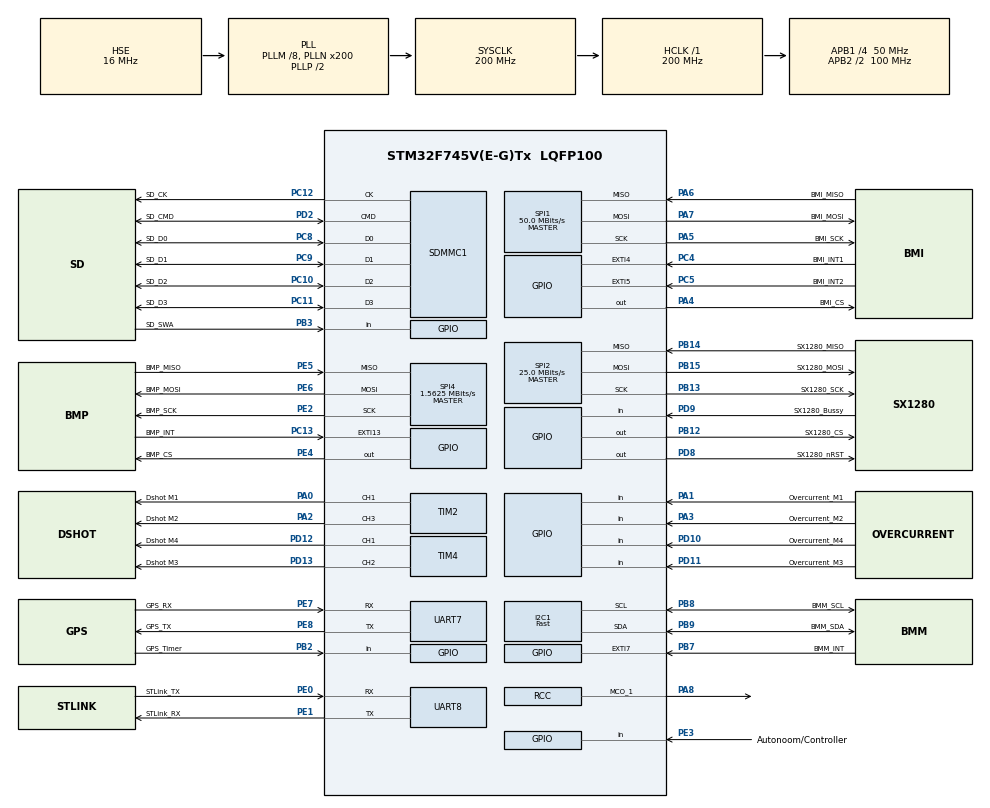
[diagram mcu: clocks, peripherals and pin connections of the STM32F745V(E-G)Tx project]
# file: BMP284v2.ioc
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CORTEX_M7.default_mode_Activation=1
Dma.Request0=TIM4_CH1
Dma.Request1=TIM4_CH2
Dma.Request2=TIM2_UP/CH3
Dma.Request3=TIM2_CH1
Dma.TIM2_CH1.3.Direction=DMA_MEMORY_TO_PERIPH
Dma.TIM2_CH1.3.FIFOMode=DMA_FIFOMODE_DISABLE
Dma.TIM2_CH1.3.Instance=DMA1_Stream5
Dma.TIM2_CH1.3.MemDataAlignment=DMA_MDATAALIGN_WORD
Dma.TIM2_CH1.3.MemInc=DMA_MINC_ENABLE
Dma.TIM2_CH1.3.Mode=DMA_NORMAL
Dma.TIM2_CH1.3.PeriphDataAlignment=DMA_PDATAALIGN_WORD
Dma.TIM2_CH1.3.PeriphInc=DMA_PINC_DISABLE
Dma.TIM2_CH1.3.Priority=DMA_PRIORITY_VERY_HIGH
Dma.TIM2_UP/CH3.2.Direction=DMA_MEMORY_TO_PERIPH
Dma.TIM2_UP/CH3.2.FIFOMode=DMA_FIFOMODE_DISABLE
Dma.TIM2_UP/CH3.2.Instance=DMA1_Stream1
Dma.TIM2_UP/CH3.2.MemDataAlignment=DMA_MDATAALIGN_WORD
Dma.TIM2_UP/CH3.2.MemInc=DMA_MINC_ENABLE
Dma.TIM2_UP/CH3.2.Mode=DMA_NORMAL
Dma.TIM2_UP/CH3.2.PeriphDataAlignment=DMA_PDATAALIGN_WORD
Dma.TIM2_UP/CH3.2.PeriphInc=DMA_PINC_DISABLE
Dma.TIM2_UP/CH3.2.Priority=DMA_PRIORITY_VERY_HIGH
Dma.TIM4_CH1.0.Direction=DMA_MEMORY_TO_PERIPH
Dma.TIM4_CH1.0.FIFOMode=DMA_FIFOMODE_DISABLE
Dma.TIM4_CH1.0.Instance=DMA1_Stream0
Dma.TIM4_CH1.0.MemDataAlignment=DMA_MDATAALIGN_HALFWORD
Dma.TIM4_CH1.0.MemInc=DMA_MINC_ENABLE
Dma.TIM4_CH1.0.Mode=DMA_NORMAL
Dma.TIM4_CH1.0.PeriphDataAlignment=DMA_PDATAALIGN_HALFWORD
Dma.TIM4_CH1.0.PeriphInc=DMA_PINC_DISABLE
Dma.TIM4_CH1.0.Priority=DMA_PRIORITY_VERY_HIGH
Dma.TIM4_CH2.1.Direction=DMA_MEMORY_TO_PERIPH
Dma.TIM4_CH2.1.FIFOMode=DMA_FIFOMODE_DISABLE
Dma.TIM4_CH2.1.Instance=DMA1_Stream3
Dma.TIM4_CH2.1.MemDataAlignment=DMA_MDATAALIGN_HALFWORD
Dma.TIM4_CH2.1.MemInc=DMA_MINC_ENABLE
Dma.TIM4_CH2.1.Mode=DMA_NORMAL
Dma.TIM4_CH2.1.PeriphDataAlignment=DMA_PDATAALIGN_HALFWORD
Dma.TIM4_CH2.1.PeriphInc=DMA_PINC_DISABLE
Dma.TIM4_CH2.1.Priority=DMA_PRIORITY_VERY_HIGH
FATFS.BSP.number=1
FATFS0.BSP.STBoard=false
FATFS0.BSP.api=Unknown
FATFS0.BSP.instance=PB3
FATFS0.BSP.ip=GPIO
FATFS0.BSP.mode=Input
FATFS0.BSP.name=Detect_SDIO
FATFS0.BSP.solution=PB3
I2C1.I2C_Speed_Mode=I2C_Fast
I2C1.Timing=0x00401959
Mcu.Family=STM32F7
Mcu.Name=STM32F745V(E-G)Tx
Mcu.Package=LQFP100
NVIC.DMA1_Stream0_IRQn=true\:0\:0\:false\:false\:true\:false\:true\:true
NVIC.DMA1_Stream1_IRQn=true\:0\:0\:false\:false\:true\:false\:true\:true
NVIC.DMA1_Stream3_IRQn=true\:0\:0\:false\:false\:true\:false\:true\:true
NVIC.DMA1_Stream5_IRQn=true\:0\:0\:false\:false\:true\:false\:true\:true
NVIC.EXTI15_10_IRQn=true\:0\:0\:false\:false\:true\:true\:true\:true
NVIC.EXTI4_IRQn=true\:3\:0\:true\:false\:true\:true\:true\:true
NVIC.EXTI9_5_IRQn=true\:3\:0\:true\:false\:true\:true\:true\:true
NVIC.PriorityGroup=NVIC_PRIORITYGROUP_4
PA0/WKUP.GPIO_Label=Dshot M1
PA0/WKUP.Signal=S_TIM2_CH1_ETR
PA1.GPIO_Label=Overcurrent_M1
PA1.Signal=GPIO_Input
PA13.GPIO_Label=STLink_DIO
PA13.Mode=Serial_Wire
PA13.Signal=SYS_JTMS-SWDIO
PA14.GPIO_Label=STLink_CLK
PA14.Mode=Serial_Wire
PA14.Signal=SYS_JTCK-SWCLK
PA2.GPIO_Label=Dshot M2
PA2.Signal=S_TIM2_CH3
PA3.GPIO_Label=Overcurrent_M2
PA3.Signal=GPIO_Input
PA4.GPIO_Label=BMI_CS
PA4.Signal=GPIO_Output
PA5.GPIO_Label=BMI_SCK
PA5.Mode=Full_Duplex_Master
PA5.Signal=SPI1_SCK
PA6.GPIO_Label=BMI_MISO
PA6.Mode=Full_Duplex_Master
PA6.Signal=SPI1_MISO
PA7.GPIO_Label=BMI_MOSI
PA7.Mode=Full_Duplex_Master
PA7.Signal=SPI1_MOSI
PA8.Mode=Clock-out-1
PA8.Signal=RCC_MCO_1
PB12.GPIO_Label=SX1280_CS
PB12.Signal=GPIO_Output
PB13.GPIO_Label=SX1280_SCK
PB13.Mode=Full_Duplex_Master
PB13.Signal=SPI2_SCK
PB14.GPIO_Label=SX1280_MISO
PB14.Mode=Full_Duplex_Master
PB14.Signal=SPI2_MISO
PB15.GPIO_Label=SX1280_MOSI
PB15.Mode=Full_Duplex_Master
PB15.Signal=SPI2_MOSI
PB2.GPIO_Label=GPS_Timer
PB2.Signal=GPIO_Input
PB3.GPIO_Label=SD_SWA
PB3.Signal=GPIO_Input
PB7.GPIO_Label=BMM_INT
PB7.Signal=GPXTI7
PB8.GPIO_Label=BMM_SCL
PB8.Mode=I2C
PB8.Signal=I2C1_SCL
PB9.GPIO_Label=BMM_SDA
PB9.Mode=I2C
PB9.Signal=I2C1_SDA
PC10.GPIO_Label=SD_D2
PC10.Mode=SD_4_bits_Wide_bus
PC10.Signal=SDMMC1_D2
PC11.GPIO_Label=SD_D3
PC11.Mode=SD_4_bits_Wide_bus
PC11.Signal=SDMMC1_D3
PC12.GPIO_Label=SD_CK
PC12.Mode=SD_4_bits_Wide_bus
PC12.Signal=SDMMC1_CK
PC13.GPIO_Label=BMP_INT
PC13.Signal=GPXTI13
PC14/OSC32_IN.Mode=LSE-External-Oscillator
PC14/OSC32_IN.Signal=RCC_OSC32_IN
PC15/OSC32_OUT.Mode=LSE-External-Oscillator
PC15/OSC32_OUT.Signal=RCC_OSC32_OUT
PC4.GPIO_Label=BMI_INT1
PC4.Signal=GPXTI4
PC5.GPIO_Label=BMI_INT2
PC5.Signal=GPXTI5
PC8.GPIO_Label=SD_D0
PC8.Mode=SD_4_bits_Wide_bus
PC8.Signal=SDMMC1_D0
PC9.GPIO_Label=SD_D1
PC9.Mode=SD_4_bits_Wide_bus
PC9.Signal=SDMMC1_D1
PD10.GPIO_Label=Overcurrent_M4
PD10.Signal=GPIO_Input
PD11.GPIO_Label=Overcurrent_M3
PD11.Signal=GPIO_Input
PD12.GPIO_Label=Dshot M4
PD12.Signal=S_TIM4_CH1
PD13.GPIO_Label=Dshot M3
PD13.Signal=S_TIM4_CH2
PD2.GPIO_Label=SD_CMD
PD2.Mode=SD_4_bits_Wide_bus
PD2.Signal=SDMMC1_CMD
PD8.GPIO_Label=SX1280_nRST
PD8.Signal=GPIO_Output
PD9.GPIO_Label=SX1280_Bussy
PD9.Signal=GPIO_Input
PE0.GPIO_Label=STLink_TX
PE0.Mode=Asynchronous
PE0.Signal=UART8_RX
PE1.GPIO_Label=STLink_RX
PE1.Mode=Asynchronous
PE1.Signal=UART8_TX
PE2.GPIO_Label=BMP_SCK
PE2.Mode=Full_Duplex_Master
PE2.Signal=SPI4_SCK
PE3.GPIO_Label=Autonoom/Controller
PE3.Signal=GPIO_Input
PE4.GPIO_Label=BMP_CS
PE4.Signal=GPIO_Output
PE5.GPIO_Label=BMP_MISO
PE5.Mode=Full_Duplex_Master
PE5.Signal=SPI4_MISO
PE6.GPIO_Label=BMP_MOSI
PE6.Mode=Full_Duplex_Master
PE6.Signal=SPI4_MOSI
PE7.GPIO_Label=GPS_RX
PE7.Mode=Asynchronous
PE7.Signal=UART7_RX
PE8.GPIO_Label=GPS_TX
PE8.Mode=Asynchronous
PE8.Signal=UART7_TX
PH0/OSC_IN.Mode=HSE-External-Oscillator
PH0/OSC_IN.Signal=RCC_OSC_IN
PH1/OSC_OUT.Mode=HSE-External-Oscillator
PH1/OSC_OUT.Signal=RCC_OSC_OUT
ProjectManager.HeapSize=0x200
ProjectManager.StackSize=0x400
ProjectManager.TargetToolchain=STM32CubeIDE
RCC.AHBFreq_Value=200000000
RCC.APB1CLKDivider=RCC_HCLK_DIV4
RCC.APB1Freq_Value=50000000
RCC.APB1TimFreq_Value=100000000
RCC.APB2CLKDivider=RCC_HCLK_DIV2
RCC.APB2Freq_Value=100000000
RCC.APB2TimFreq_Value=200000000
RCC.CortexFreq_Value=200000000
RCC.HCLKFreq_Value=200000000
RCC.HSE_VALUE=16000000
RCC.HSI_VALUE=16000000
RCC.PLLM=8
RCC.PLLN=200
RCC.PLLQ=8
RCC.PLLSourceVirtual=RCC_PLLSOURCE_HSE
RCC.SDMMCClockSelection=RCC_SDMMC1CLKSOURCE_CLK48
RCC.SYSCLKFreq_VALUE=200000000
RCC.SYSCLKSource=RCC_SYSCLKSOURCE_PLLCLK
RCC.USBFreq_Value=50000000
RCC.VCOOutputFreq_Value=400000000
SDMMC1.ClockBypass=SDMMC_CLOCK_BYPASS_DISABLE
SH.S_TIM2_CH1_ETR.0=TIM2_CH1,PWM Generation1 CH1
SH.S_TIM2_CH3.0=TIM2_CH3,PWM Generation3 CH3
SH.S_TIM4_CH1.0=TIM4_CH1,PWM Generation1 CH1
SH.S_TIM4_CH2.0=TIM4_CH2,PWM Generation2 CH2
SPI1.CLKPhase=SPI_PHASE_2EDGE
SPI1.CLKPolarity=SPI_POLARITY_HIGH
SPI1.CalculateBaudRate=50.0 MBits/s
SPI1.DataSize=SPI_DATASIZE_8BIT
SPI1.Direction=SPI_DIRECTION_2LINES
SPI1.Mode=SPI_MODE_MASTER
SPI1.VirtualType=VM_MASTER
SPI2.BaudRatePrescaler=SPI_BAUDRATEPRESCALER_2
SPI2.CalculateBaudRate=25.0 MBits/s
SPI2.DataSize=SPI_DATASIZE_8BIT
SPI2.Direction=SPI_DIRECTION_2LINES
SPI2.Mode=SPI_MODE_MASTER
SPI2.NSSPMode=SPI_NSS_PULSE_DISABLE
SPI2.VirtualType=VM_MASTER
SPI4.BaudRatePrescaler=SPI_BAUDRATEPRESCALER_64
SPI4.CLKPhase=SPI_PHASE_1EDGE
SPI4.CLKPolarity=SPI_POLARITY_LOW
SPI4.CalculateBaudRate=1.5625 MBits/s
SPI4.DataSize=SPI_DATASIZE_8BIT
SPI4.Direction=SPI_DIRECTION_2LINES
SPI4.Mode=SPI_MODE_MASTER
SPI4.VirtualType=VM_MASTER
TIM2.Channel-PWM\ Generation1\ CH1=TIM_CHANNEL_1
TIM2.Channel-PWM\ Generation3\ CH3=TIM_CHANNEL_3
TIM4.Channel-PWM\ Generation1\ CH1=TIM_CHANNEL_1
TIM4.Channel-PWM\ Generation2\ CH2=TIM_CHANNEL_2
UART8.SwapParam=UART_ADVFEATURE_SWAP_ENABLE
VP_FATFS_VS_SDIO.Mode=SDIO
board=custom

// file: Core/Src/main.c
/* USER CODE BEGIN Header */
/**
  ******************************************************************************
  * @file           : main.c
  * @brief          : Main program body
  ******************************************************************************
  * @attention
  *
  * Copyright (c) 2026 STMicroelectronics.
  * All rights reserved.
  *
  * This software is licensed under terms that can be found in the LICENSE file
  * in the root directory of this software component.
  * If no LICENSE file comes with this software, it is provided AS-IS.
  *
  ******************************************************************************
  */
/* USER CODE END Header */
#include "main.h"
#include "fatfs.h"

/* USER CODE BEGIN Includes */
#include "stdio.h"
#include "BMP384.h"
/* USER CODE END Includes */

I2C_HandleTypeDef hi2c1;

SD_HandleTypeDef hsd1;

SPI_HandleTypeDef hspi1;
SPI_HandleTypeDef hspi2;
SPI_HandleTypeDef hspi4;

TIM_HandleTypeDef htim2;
TIM_HandleTypeDef htim4;
DMA_HandleTypeDef hdma_tim2_up_ch3;
DMA_HandleTypeDef hdma_tim2_ch1;
DMA_HandleTypeDef hdma_tim4_ch1;
DMA_HandleTypeDef hdma_tim4_ch2;

UART_HandleTypeDef huart7;
UART_HandleTypeDef huart8;

/* USER CODE BEGIN PV */
static BMP384_Calib baro_calib;
static float g_ground_pressure_pa = 0.0f;
/* USER CODE END PV */

void SystemClock_Config(void);
static void MPU_Config(void);
static void MX_GPIO_Init(void);
static void MX_DMA_Init(void);
static void MX_I2C1_Init(void);
static void MX_SDMMC1_SD_Init(void);
static void MX_SPI1_Init(void);
static void MX_SPI2_Init(void);
static void MX_SPI4_Init(void);
static void MX_TIM2_Init(void);
static void MX_TIM4_Init(void);
static void MX_UART7_Init(void);
static void MX_UART8_Init(void);

/* USER CODE BEGIN 0 */

int _write(int file, char *ptr, int len) {
	for(int i = 0; i < len; i++){
		if(ptr[i]=='\n'){
			HAL_UART_Transmit(&huart8, (uint8_t*)"\r", 1, HAL_MAX_DELAY);
		}
		HAL_UART_Transmit(&huart8, (uint8_t*)&ptr[i], 1, HAL_MAX_DELAY);
	}
    return len;
}
/* USER CODE END 0 */

int main(void)
{

  /* MPU Configuration--------------------------------------------------------*/
  MPU_Config();

  /* MCU Configuration--------------------------------------------------------*/

  /* Reset of all peripherals, Initializes the Flash interface and the Systick. */
  HAL_Init();

  /* Configure the system clock */
  SystemClock_Config();

  /* Initialize all configured peripherals */
  MX_GPIO_Init();
  MX_DMA_Init();
  MX_I2C1_Init();
  MX_SDMMC1_SD_Init();
  MX_SPI1_Init();
  MX_SPI2_Init();
  MX_SPI4_Init();
  MX_TIM2_Init();
  MX_TIM4_Init();
  MX_UART7_Init();
  MX_FATFS_Init();
  MX_UART8_Init();
  /* USER CODE BEGIN 2 */
  /* Barometer-test: init de nieuwe driver en meet de grondduk als referentie
   * voor de hoogteberekening. Bij een fout blijft de lus hieronder gewoon
   * elke keer opnieuw proberen te lezen (en falen), zodat je aan de UART8-log
   * ziet wat er mis is i.p.v. dat het stilletjes doorloopt. */
  BMP384_Status baro_status = BMP384_Init(&baro_calib);

  if (baro_status == BMP384_OK) {
      /* eenmalig de ruwe ADC-waarden tonen: als die 0 of 16777215 zijn,
       * meet de sensor niet en heeft compenseren geen zin */
      uint32_t rp = 0, rt = 0;
      HAL_Delay(50);
      if (BMP384_ReadRaw(&rp, &rt) == BMP384_OK) {
          printf("BMP384: ruwe waarden druk=%lu temp=%lu\n",
                 (unsigned long)rp, (unsigned long)rt);
      }

      if (rp == 0 && rt == 0) {
          BMP384_Diagnose();
          BMP384_ForcedTest(&rp, &rt);
          printf("BMP384: na forced-test druk=%lu temp=%lu\n",
                 (unsigned long)rp, (unsigned long)rt);
          BMP384_Diagnose();
      }

      float sum_pa = 0.0f;
      const int ground_samples = 20;
      int got = 0;
      int tries = 0;
      while (got < ground_samples && tries < 500) {
          tries++;
          if (BMP384_IsDataReady()) {
              float p;
              if (BMP384_ReadPressureTemperature(&baro_calib, &p, NULL) == BMP384_OK) {
                  sum_pa += p;
                  got++;
              }
          }
          HAL_Delay(20);
      }
      if (got == ground_samples) {
          g_ground_pressure_pa = sum_pa / (float)ground_samples;
          printf("BMP384: grondduk = %.1f Pa\n", g_ground_pressure_pa);
      } else {
          printf("BMP384: geen geldige metingen (%d/%d), grondduk niet bepaald\n",
                 got, ground_samples);
          baro_status = BMP384_ERR_DATA;
      }
  }else{
	  printf("BMP is niet OKE\n");
  }
  /* USER CODE END 2 */

  /* Infinite loop */
  /* USER CODE BEGIN WHILE */
  while (1)
  {
	  if (baro_status != BMP384_OK) {
		  printf("BMP384: niet geinitialiseerd, geen metingen\n");
		  HAL_Delay(1000);
	  } else if (BMP384_IsDataReady()) {
		  float pressure_pa, temperature_c;
		  if (BMP384_ReadPressureTemperature(&baro_calib, &pressure_pa, &temperature_c) == BMP384_OK) {
			  float altitude_m = BMP384_PressureToAltitude(pressure_pa, g_ground_pressure_pa);
			  printf("BMP384: druk=%.1fPa  temp=%.2fC  hoogte=%.2fm\n", pressure_pa, temperature_c, altitude_m);
		  }
		  HAL_Delay(100);
	  }
    /* USER CODE END WHILE */

  }
}

void SystemClock_Config(void)
{
  RCC_OscInitTypeDef RCC_OscInitStruct = {0};
  RCC_ClkInitTypeDef RCC_ClkInitStruct = {0};

  /** Configure LSE Drive Capability
  */
  HAL_PWR_EnableBkUpAccess();

  /** Configure the main internal regulator output voltage
  */
  __HAL_RCC_PWR_CLK_ENABLE();
  __HAL_PWR_VOLTAGESCALING_CONFIG(PWR_REGULATOR_VOLTAGE_SCALE1);

  /** Initializes the RCC Oscillators according to the specified parameters
  * in the RCC_OscInitTypeDef structure.
  */
  RCC_OscInitStruct.OscillatorType = RCC_OSCILLATORTYPE_HSI|RCC_OSCILLATORTYPE_HSE;
  RCC_OscInitStruct.HSEState = RCC_HSE_ON;
  RCC_OscInitStruct.HSIState = RCC_HSI_ON;
  RCC_OscInitStruct.HSICalibrationValue = RCC_HSICALIBRATION_DEFAULT;
  RCC_OscInitStruct.PLL.PLLState = RCC_PLL_ON;
  RCC_OscInitStruct.PLL.PLLSource = RCC_PLLSOURCE_HSE;
  RCC_OscInitStruct.PLL.PLLM = 8;
  RCC_OscInitStruct.PLL.PLLN = 200;
  RCC_OscInitStruct.PLL.PLLP = RCC_PLLP_DIV2;
  RCC_OscInitStruct.PLL.PLLQ = 8;
  if (HAL_RCC_OscConfig(&RCC_OscInitStruct) != HAL_OK)
  {
    Error_Handler();
  }

  /** Activate the Over-Drive mode
  */
  if (HAL_PWREx_EnableOverDrive() != HAL_OK)
  {
    Error_Handler();
  }

  /** Initializes the CPU, AHB and APB buses clocks
  */
  RCC_ClkInitStruct.ClockType = RCC_CLOCKTYPE_HCLK|RCC_CLOCKTYPE_SYSCLK
                              |RCC_CLOCKTYPE_PCLK1|RCC_CLOCKTYPE_PCLK2;
  RCC_ClkInitStruct.SYSCLKSource = RCC_SYSCLKSOURCE_PLLCLK;
  RCC_ClkInitStruct.AHBCLKDivider = RCC_SYSCLK_DIV1;
  RCC_ClkInitStruct.APB1CLKDivider = RCC_HCLK_DIV4;
  RCC_ClkInitStruct.APB2CLKDivider = RCC_HCLK_DIV2;

  if (HAL_RCC_ClockConfig(&RCC_ClkInitStruct, FLASH_LATENCY_6) != HAL_OK)
  {
    Error_Handler();
  }
  HAL_RCC_MCOConfig(RCC_MCO1, RCC_MCO1SOURCE_HSI, RCC_MCODIV_1);
}

static void MX_I2C1_Init(void)
{

  hi2c1.Instance = I2C1;
  hi2c1.Init.Timing = 0x00401959;
  hi2c1.Init.OwnAddress1 = 0;
  hi2c1.Init.AddressingMode = I2C_ADDRESSINGMODE_7BIT;
  hi2c1.Init.DualAddressMode = I2C_DUALADDRESS_DISABLE;
  hi2c1.Init.OwnAddress2 = 0;
  hi2c1.Init.OwnAddress2Masks = I2C_OA2_NOMASK;
  hi2c1.Init.GeneralCallMode = I2C_GENERALCALL_DISABLE;
  hi2c1.Init.NoStretchMode = I2C_NOSTRETCH_DISABLE;
  if (HAL_I2C_Init(&hi2c1) != HAL_OK)
  {
    Error_Handler();
  }

  /** Configure Analogue filter
  */
  if (HAL_I2CEx_ConfigAnalogFilter(&hi2c1, I2C_ANALOGFILTER_ENABLE) != HAL_OK)
  {
    Error_Handler();
  }

  /** Configure Digital filter
  */
  if (HAL_I2CEx_ConfigDigitalFilter(&hi2c1, 0) != HAL_OK)
  {
    Error_Handler();
  }

}

static void MX_SDMMC1_SD_Init(void)
{

  hsd1.Instance = SDMMC1;
  hsd1.Init.ClockEdge = SDMMC_CLOCK_EDGE_RISING;
  hsd1.Init.ClockBypass = SDMMC_CLOCK_BYPASS_DISABLE;
  hsd1.Init.ClockPowerSave = SDMMC_CLOCK_POWER_SAVE_DISABLE;
  hsd1.Init.BusWide = SDMMC_BUS_WIDE_1B;
  hsd1.Init.HardwareFlowControl = SDMMC_HARDWARE_FLOW_CONTROL_DISABLE;
  hsd1.Init.ClockDiv = 0;

}

static void MX_SPI1_Init(void)
{

  /* SPI1 parameter configuration*/
  hspi1.Instance = SPI1;
  hspi1.Init.Mode = SPI_MODE_MASTER;
  hspi1.Init.Direction = SPI_DIRECTION_2LINES;
  hspi1.Init.DataSize = SPI_DATASIZE_8BIT;
  hspi1.Init.CLKPolarity = SPI_POLARITY_HIGH;
  hspi1.Init.CLKPhase = SPI_PHASE_2EDGE;
  hspi1.Init.NSS = SPI_NSS_SOFT;
  hspi1.Init.BaudRatePrescaler = SPI_BAUDRATEPRESCALER_2;
  hspi1.Init.FirstBit = SPI_FIRSTBIT_MSB;
  hspi1.Init.TIMode = SPI_TIMODE_DISABLE;
  hspi1.Init.CRCCalculation = SPI_CRCCALCULATION_DISABLE;
  hspi1.Init.CRCPolynomial = 7;
  hspi1.Init.CRCLength = SPI_CRC_LENGTH_DATASIZE;
  hspi1.Init.NSSPMode = SPI_NSS_PULSE_DISABLE;
  if (HAL_SPI_Init(&hspi1) != HAL_OK)
  {
    Error_Handler();
  }

}

static void MX_SPI2_Init(void)
{

  /* SPI2 parameter configuration*/
  hspi2.Instance = SPI2;
  hspi2.Init.Mode = SPI_MODE_MASTER;
  hspi2.Init.Direction = SPI_DIRECTION_2LINES;
  hspi2.Init.DataSize = SPI_DATASIZE_8BIT;
  hspi2.Init.CLKPolarity = SPI_POLARITY_LOW;
  hspi2.Init.CLKPhase = SPI_PHASE_1EDGE;
  hspi2.Init.NSS = SPI_NSS_SOFT;
  hspi2.Init.BaudRatePrescaler = SPI_BAUDRATEPRESCALER_2;
  hspi2.Init.FirstBit = SPI_FIRSTBIT_MSB;
  hspi2.Init.TIMode = SPI_TIMODE_DISABLE;
  hspi2.Init.CRCCalculation = SPI_CRCCALCULATION_DISABLE;
  hspi2.Init.CRCPolynomial = 7;
  hspi2.Init.CRCLength = SPI_CRC_LENGTH_DATASIZE;
  hspi2.Init.NSSPMode = SPI_NSS_PULSE_DISABLE;
  if (HAL_SPI_Init(&hspi2) != HAL_OK)
  {
    Error_Handler();
  }

}

static void MX_SPI4_Init(void)
{

  /* SPI4 parameter configuration*/
  hspi4.Instance = SPI4;
  hspi4.Init.Mode = SPI_MODE_MASTER;
  hspi4.Init.Direction = SPI_DIRECTION_2LINES;
  hspi4.Init.DataSize = SPI_DATASIZE_8BIT;
  hspi4.Init.CLKPolarity = SPI_POLARITY_LOW;
  hspi4.Init.CLKPhase = SPI_PHASE_1EDGE;
  hspi4.Init.NSS = SPI_NSS_SOFT;
  hspi4.Init.BaudRatePrescaler = SPI_BAUDRATEPRESCALER_64;
  hspi4.Init.FirstBit = SPI_FIRSTBIT_MSB;
  hspi4.Init.TIMode = SPI_TIMODE_DISABLE;
  hspi4.Init.CRCCalculation = SPI_CRCCALCULATION_DISABLE;
  hspi4.Init.CRCPolynomial = 7;
  hspi4.Init.CRCLength = SPI_CRC_LENGTH_DATASIZE;
  hspi4.Init.NSSPMode = SPI_NSS_PULSE_ENABLE;
  if (HAL_SPI_Init(&hspi4) != HAL_OK)
  {
    Error_Handler();
  }

}

static void MX_TIM2_Init(void)
{

  TIM_MasterConfigTypeDef sMasterConfig = {0};
  TIM_OC_InitTypeDef sConfigOC = {0};

  htim2.Instance = TIM2;
  htim2.Init.Prescaler = 0;
  htim2.Init.CounterMode = TIM_COUNTERMODE_UP;
  htim2.Init.Period = 4294967295;
  htim2.Init.ClockDivision = TIM_CLOCKDIVISION_DIV1;
  htim2.Init.AutoReloadPreload = TIM_AUTORELOAD_PRELOAD_DISABLE;
  if (HAL_TIM_PWM_Init(&htim2) != HAL_OK)
  {
    Error_Handler();
  }
  sMasterConfig.MasterOutputTrigger = TIM_TRGO_RESET;
  sMasterConfig.MasterSlaveMode = TIM_MASTERSLAVEMODE_DISABLE;
  if (HAL_TIMEx_MasterConfigSynchronization(&htim2, &sMasterConfig) != HAL_OK)
  {
    Error_Handler();
  }
  sConfigOC.OCMode = TIM_OCMODE_PWM1;
  sConfigOC.Pulse = 0;
  sConfigOC.OCPolarity = TIM_OCPOLARITY_HIGH;
  sConfigOC.OCFastMode = TIM_OCFAST_DISABLE;
  if (HAL_TIM_PWM_ConfigChannel(&htim2, &sConfigOC, TIM_CHANNEL_1) != HAL_OK)
  {
    Error_Handler();
  }
  if (HAL_TIM_PWM_ConfigChannel(&htim2, &sConfigOC, TIM_CHANNEL_3) != HAL_OK)
  {
    Error_Handler();
  }
  HAL_TIM_MspPostInit(&htim2);

}

static void MX_TIM4_Init(void)
{

  TIM_MasterConfigTypeDef sMasterConfig = {0};
  TIM_OC_InitTypeDef sConfigOC = {0};

  htim4.Instance = TIM4;
  htim4.Init.Prescaler = 0;
  htim4.Init.CounterMode = TIM_COUNTERMODE_UP;
  htim4.Init.Period = 65535;
  htim4.Init.ClockDivision = TIM_CLOCKDIVISION_DIV1;
  htim4.Init.AutoReloadPreload = TIM_AUTORELOAD_PRELOAD_DISABLE;
  if (HAL_TIM_PWM_Init(&htim4) != HAL_OK)
  {
    Error_Handler();
  }
  sMasterConfig.MasterOutputTrigger = TIM_TRGO_RESET;
  sMasterConfig.MasterSlaveMode = TIM_MASTERSLAVEMODE_DISABLE;
  if (HAL_TIMEx_MasterConfigSynchronization(&htim4, &sMasterConfig) != HAL_OK)
  {
    Error_Handler();
  }
  sConfigOC.OCMode = TIM_OCMODE_PWM1;
  sConfigOC.Pulse = 0;
  sConfigOC.OCPolarity = TIM_OCPOLARITY_HIGH;
  sConfigOC.OCFastMode = TIM_OCFAST_DISABLE;
  if (HAL_TIM_PWM_ConfigChannel(&htim4, &sConfigOC, TIM_CHANNEL_1) != HAL_OK)
  {
    Error_Handler();
  }
  if (HAL_TIM_PWM_ConfigChannel(&htim4, &sConfigOC, TIM_CHANNEL_2) != HAL_OK)
  {
    Error_Handler();
  }
  HAL_TIM_MspPostInit(&htim4);

}

static void MX_UART7_Init(void)
{

  huart7.Instance = UART7;
  huart7.Init.BaudRate = 115200;
  huart7.Init.WordLength = UART_WORDLENGTH_8B;
  huart7.Init.StopBits = UART_STOPBITS_1;
  huart7.Init.Parity = UART_PARITY_NONE;
  huart7.Init.Mode = UART_MODE_TX_RX;
  huart7.Init.HwFlowCtl = UART_HWCONTROL_NONE;
  huart7.Init.OverSampling = UART_OVERSAMPLING_16;
  huart7.Init.OneBitSampling = UART_ONE_BIT_SAMPLE_DISABLE;
  huart7.AdvancedInit.AdvFeatureInit = UART_ADVFEATURE_NO_INIT;
  if (HAL_UART_Init(&huart7) != HAL_OK)
  {
    Error_Handler();
  }

}

static void MX_UART8_Init(void)
{

  huart8.Instance = UART8;
  huart8.Init.BaudRate = 115200;
  huart8.Init.WordLength = UART_WORDLENGTH_8B;
  huart8.Init.StopBits = UART_STOPBITS_1;
  huart8.Init.Parity = UART_PARITY_NONE;
  huart8.Init.Mode = UART_MODE_TX_RX;
  huart8.Init.HwFlowCtl = UART_HWCONTROL_NONE;
  huart8.Init.OverSampling = UART_OVERSAMPLING_16;
  huart8.Init.OneBitSampling = UART_ONE_BIT_SAMPLE_DISABLE;
  huart8.AdvancedInit.AdvFeatureInit = UART_ADVFEATURE_SWAP_INIT;
  huart8.AdvancedInit.Swap = UART_ADVFEATURE_SWAP_ENABLE;
  if (HAL_UART_Init(&huart8) != HAL_OK)
  {
    Error_Handler();
  }

}

static void MX_DMA_Init(void)
{

  /* DMA controller clock enable */
  __HAL_RCC_DMA1_CLK_ENABLE();

  /* DMA interrupt init */
  /* DMA1_Stream0_IRQn interrupt configuration */
  HAL_NVIC_SetPriority(DMA1_Stream0_IRQn, 0, 0);
  HAL_NVIC_EnableIRQ(DMA1_Stream0_IRQn);
  /* DMA1_Stream1_IRQn interrupt configuration */
  HAL_NVIC_SetPriority(DMA1_Stream1_IRQn, 0, 0);
  HAL_NVIC_EnableIRQ(DMA1_Stream1_IRQn);
  /* DMA1_Stream3_IRQn interrupt configuration */
  HAL_NVIC_SetPriority(DMA1_Stream3_IRQn, 0, 0);
  HAL_NVIC_EnableIRQ(DMA1_Stream3_IRQn);
  /* DMA1_Stream5_IRQn interrupt configuration */
  HAL_NVIC_SetPriority(DMA1_Stream5_IRQn, 0, 0);
  HAL_NVIC_EnableIRQ(DMA1_Stream5_IRQn);

}

static void MX_GPIO_Init(void)
{
  GPIO_InitTypeDef GPIO_InitStruct = {0};

  /* GPIO Ports Clock Enable */
  __HAL_RCC_GPIOE_CLK_ENABLE();
  __HAL_RCC_GPIOC_CLK_ENABLE();
  __HAL_RCC_GPIOH_CLK_ENABLE();
  __HAL_RCC_GPIOA_CLK_ENABLE();
  __HAL_RCC_GPIOB_CLK_ENABLE();
  __HAL_RCC_GPIOD_CLK_ENABLE();

  /*Configure GPIO pin Output Level */
  HAL_GPIO_WritePin(BMP_CS_GPIO_Port, BMP_CS_Pin, GPIO_PIN_RESET);

  /*Configure GPIO pin Output Level */
  HAL_GPIO_WritePin(BMI_CS_GPIO_Port, BMI_CS_Pin, GPIO_PIN_RESET);

  /*Configure GPIO pin Output Level */
  HAL_GPIO_WritePin(SX1280_CS_GPIO_Port, SX1280_CS_Pin, GPIO_PIN_RESET);

  /*Configure GPIO pin Output Level */
  HAL_GPIO_WritePin(SX1280_nRST_GPIO_Port, SX1280_nRST_Pin, GPIO_PIN_RESET);

  /*Configure GPIO pin : Autonoom_Controller_Pin */
  GPIO_InitStruct.Pin = Autonoom_Controller_Pin;
  GPIO_InitStruct.Mode = GPIO_MODE_INPUT;
  GPIO_InitStruct.Pull = GPIO_NOPULL;
  HAL_GPIO_Init(Autonoom_Controller_GPIO_Port, &GPIO_InitStruct);

  /*Configure GPIO pin : BMP_CS_Pin */
  GPIO_InitStruct.Pin = BMP_CS_Pin;
  GPIO_InitStruct.Mode = GPIO_MODE_OUTPUT_PP;
  GPIO_InitStruct.Pull = GPIO_NOPULL;
  GPIO_InitStruct.Speed = GPIO_SPEED_FREQ_LOW;
  HAL_GPIO_Init(BMP_CS_GPIO_Port, &GPIO_InitStruct);

  /*Configure GPIO pins : BMP_INT_Pin BMI_INT1_Pin BMI_INT2_Pin */
  GPIO_InitStruct.Pin = BMP_INT_Pin|BMI_INT1_Pin|BMI_INT2_Pin;
  GPIO_InitStruct.Mode = GPIO_MODE_IT_RISING;
  GPIO_InitStruct.Pull = GPIO_NOPULL;
  HAL_GPIO_Init(GPIOC, &GPIO_InitStruct);

  /*Configure GPIO pins : Overcurrent_M1_Pin Overcurrent_M2_Pin */
  GPIO_InitStruct.Pin = Overcurrent_M1_Pin|Overcurrent_M2_Pin;
  GPIO_InitStruct.Mode = GPIO_MODE_INPUT;
  GPIO_InitStruct.Pull = GPIO_NOPULL;
  HAL_GPIO_Init(GPIOA, &GPIO_InitStruct);

  /*Configure GPIO pin : BMI_CS_Pin */
  GPIO_InitStruct.Pin = BMI_CS_Pin;
  GPIO_InitStruct.Mode = GPIO_MODE_OUTPUT_PP;
  GPIO_InitStruct.Pull = GPIO_NOPULL;
  GPIO_InitStruct.Speed = GPIO_SPEED_FREQ_LOW;
  HAL_GPIO_Init(BMI_CS_GPIO_Port, &GPIO_InitStruct);

  /*Configure GPIO pins : GPS_Timer_Pin SD_SWA_Pin */
  GPIO_InitStruct.Pin = GPS_Timer_Pin|SD_SWA_Pin;
  GPIO_InitStruct.Mode = GPIO_MODE_INPUT;
  GPIO_InitStruct.Pull = GPIO_NOPULL;
  HAL_GPIO_Init(GPIOB, &GPIO_InitStruct);

  /*Configure GPIO pin : SX1280_CS_Pin */
  GPIO_InitStruct.Pin = SX1280_CS_Pin;
  GPIO_InitStruct.Mode = GPIO_MODE_OUTPUT_PP;
  GPIO_InitStruct.Pull = GPIO_NOPULL;
  GPIO_InitStruct.Speed = GPIO_SPEED_FREQ_LOW;
  HAL_GPIO_Init(SX1280_CS_GPIO_Port, &GPIO_InitStruct);

  /*Configure GPIO pin : SX1280_nRST_Pin */
  GPIO_InitStruct.Pin = SX1280_nRST_Pin;
  GPIO_InitStruct.Mode = GPIO_MODE_OUTPUT_PP;
  GPIO_InitStruct.Pull = GPIO_NOPULL;
  GPIO_InitStruct.Speed = GPIO_SPEED_FREQ_LOW;
  HAL_GPIO_Init(SX1280_nRST_GPIO_Port, &GPIO_InitStruct);

  /*Configure GPIO pins : SX1280_Bussy_Pin Overcurrent_M4_Pin Overcurrent_M3_Pin */
  GPIO_InitStruct.Pin = SX1280_Bussy_Pin|Overcurrent_M4_Pin|Overcurrent_M3_Pin;
  GPIO_InitStruct.Mode = GPIO_MODE_INPUT;
  GPIO_InitStruct.Pull = GPIO_NOPULL;
  HAL_GPIO_Init(GPIOD, &GPIO_InitStruct);

  /*Configure GPIO pin : PA8 */
  GPIO_InitStruct.Pin = GPIO_PIN_8;
  GPIO_InitStruct.Mode = GPIO_MODE_AF_PP;
  GPIO_InitStruct.Pull = GPIO_NOPULL;
  GPIO_InitStruct.Speed = GPIO_SPEED_FREQ_LOW;
  GPIO_InitStruct.Alternate = GPIO_AF0_MCO;
  HAL_GPIO_Init(GPIOA, &GPIO_InitStruct);

  /*Configure GPIO pin : BMM_INT_Pin */
  GPIO_InitStruct.Pin = BMM_INT_Pin;
  GPIO_InitStruct.Mode = GPIO_MODE_IT_RISING;
  GPIO_InitStruct.Pull = GPIO_NOPULL;
  HAL_GPIO_Init(BMM_INT_GPIO_Port, &GPIO_InitStruct);

  /* EXTI interrupt init*/
  HAL_NVIC_SetPriority(EXTI4_IRQn, 3, 0);
  HAL_NVIC_EnableIRQ(EXTI4_IRQn);

  HAL_NVIC_SetPriority(EXTI9_5_IRQn, 3, 0);
  HAL_NVIC_EnableIRQ(EXTI9_5_IRQn);

  HAL_NVIC_SetPriority(EXTI15_10_IRQn, 0, 0);
  HAL_NVIC_EnableIRQ(EXTI15_10_IRQn);

}

 /* MPU Configuration */

void MPU_Config(void)
{
  MPU_Region_InitTypeDef MPU_InitStruct = {0};

  /* Disables the MPU */
  HAL_MPU_Disable();

  /** Initializes and configures the Region and the memory to be protected
  */
  MPU_InitStruct.Enable = MPU_REGION_ENABLE;
  MPU_InitStruct.Number = MPU_REGION_NUMBER0;
  MPU_InitStruct.BaseAddress = 0x0;
  MPU_InitStruct.Size = MPU_REGION_SIZE_4GB;
  MPU_InitStruct.SubRegionDisable = 0x87;
  MPU_InitStruct.TypeExtField = MPU_TEX_LEVEL0;
  MPU_InitStruct.AccessPermission = MPU_REGION_NO_ACCESS;
  MPU_InitStruct.DisableExec = MPU_INSTRUCTION_ACCESS_DISABLE;
  MPU_InitStruct.IsShareable = MPU_ACCESS_SHAREABLE;
  MPU_InitStruct.IsCacheable = MPU_ACCESS_NOT_CACHEABLE;
  MPU_InitStruct.IsBufferable = MPU_ACCESS_NOT_BUFFERABLE;

  HAL_MPU_ConfigRegion(&MPU_InitStruct);
  /* Enables the MPU */
  HAL_MPU_Enable(MPU_PRIVILEGED_DEFAULT);

}

void Error_Handler(void)
{
  __disable_irq();
  while (1)
  {
  }
}
